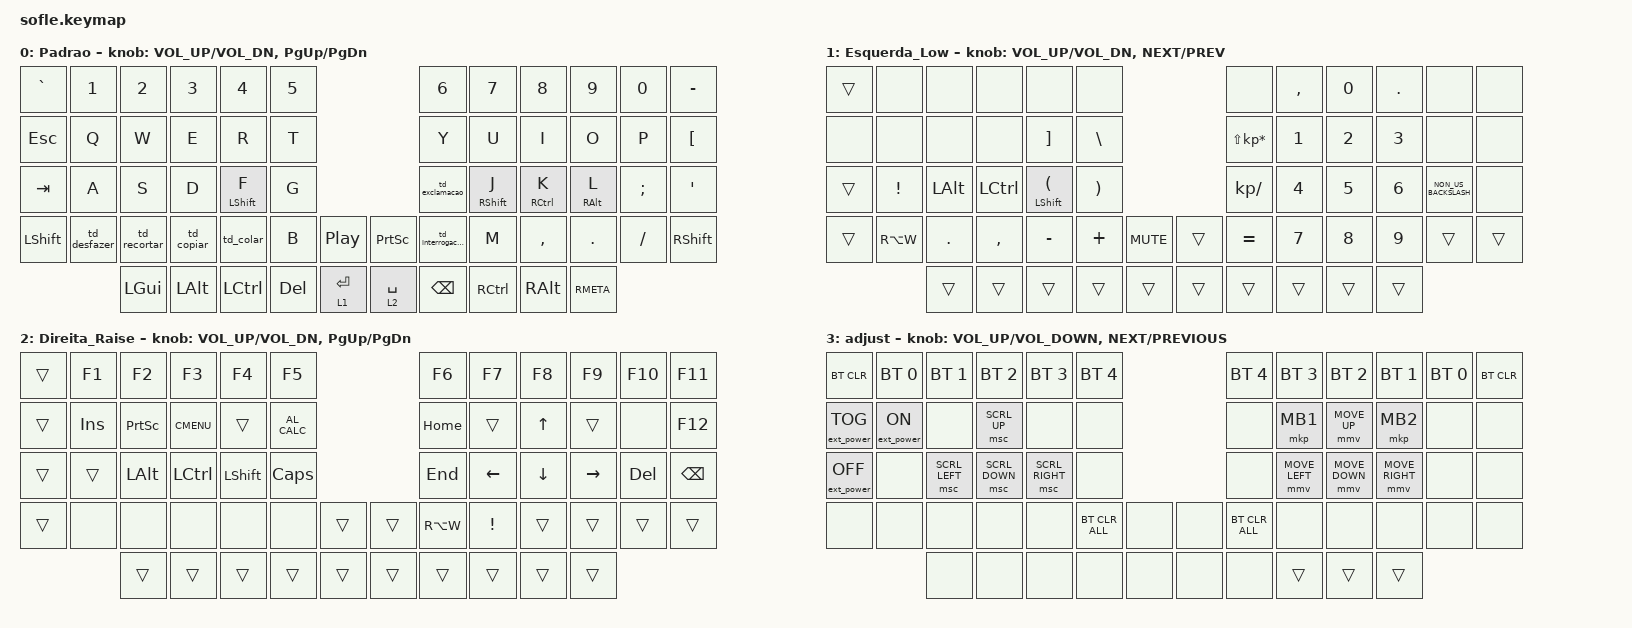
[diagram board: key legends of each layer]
/*
 * Copyright (c) 2020 The ZMK Contributors
 *
 * SPDX-License-Identifier: MIT
 */

#include <behaviors.dtsi>
#include <dt-bindings/zmk/bt.h>
#include <dt-bindings/zmk/ext_power.h>
#include <dt-bindings/zmk/keys.h>
#include <dt-bindings/zmk/pointing.h>

#define BASE 0
#define LOWER 1
#define RAISE 2
#define ADJUST 3

/ {
    // Activate ADJUST layer by pressing raise and lower

    conditional_layers {
        compatible = "zmk,conditional-layers";

        adjust_layer {
            if-layers = <LOWER RAISE>;
            then-layer = <ADJUST>;
        };
    };

    macros {
        macro_interrogacao: macro_interrogacao {
            compatible = "zmk,behavior-macro";
            #binding-cells = <0>;
            bindings =
                <&macro_press>,
                <&kp RALT>,
                <&macro_tap>,
                <&kp W>,
                <&macro_release>,
                <&kp RALT>;

            label = "MACRO_INTERROGACAO";
        };

        macro_copiar: copiar {
            compatible = "zmk,behavior-macro";
            #binding-cells = <0>;
            bindings =
                <&macro_press>,
                <&kp LEFT_CONTROL>,
                <&macro_tap>,
                <&kp C>,
                <&macro_release>,
                <&kp LEFT_CONTROL>;

            label = "COPIAR";
        };

        macro_colar: colar {
            compatible = "zmk,behavior-macro";
            #binding-cells = <0>;
            bindings =
                <&macro_press>,
                <&kp LEFT_CONTROL>,
                <&macro_tap>,
                <&kp V>,
                <&macro_release>,
                <&kp LEFT_CONTROL>;

            label = "COLAR";
        };

        macro_recortar: macro_recortar {
            compatible = "zmk,behavior-macro";
            #binding-cells = <0>;
            bindings =
                <&macro_press>,
                <&kp LEFT_CONTROL>,
                <&macro_tap>,
                <&kp X>,
                <&macro_release>,
                <&kp LEFT_CONTROL>;

            label = "MACRO_RECORTAR";
        };

        macro_desfazer: macro_desfazer {
            compatible = "zmk,behavior-macro";
            #binding-cells = <0>;
            bindings =
                <&macro_press>,
                <&kp LEFT_CONTROL>,
                <&macro_tap>,
                <&kp Z>,
                <&macro_release>,
                <&kp LEFT_CONTROL>;

            label = "MACRO_DESFAZER";
        };
    };

    behaviors {
        td_interrogacao: td_interrogacao {
            compatible = "zmk,behavior-tap-dance";
            label = "TD_INTERROGACAO";
            #binding-cells = <0>;
            bindings = <&kp N>, <&macro_interrogacao>;
        };

        td_copiar: td_copiar {
            compatible = "zmk,behavior-tap-dance";
            label = "TD_COPIAR";
            #binding-cells = <0>;
            bindings = <&kp C>, <&macro_copiar>;
        };

        td_colar: td_colar {
            compatible = "zmk,behavior-tap-dance";
            label = "TD_COLAR";
            #binding-cells = <0>;
            bindings = <&kp V>, <&macro_colar>;
        };

        td_recortar: td_recortar {
            compatible = "zmk,behavior-tap-dance";
            label = "TD_RECORTAR";
            #binding-cells = <0>;
            bindings = <&kp X>, <&macro_recortar>;
        };

        td_desfazer: td_desfazer {
            compatible = "zmk,behavior-tap-dance";
            label = "TD_DESFAZER";
            #binding-cells = <0>;
            bindings = <&kp Z>, <&macro_desfazer>;
        };

        tr_Shift: tr_Shift {
            compatible = "zmk,behavior-hold-tap";
            label = "TR_SHIFT";
            bindings = <&kp>, <&kp>;

            #binding-cells = <2>;
            hold-trigger-on-release;
            tapping-term-ms = <250>;
            flavor = "balanced";
            quick-tap-ms = <175>;
            require-prior-idle-ms = <125>;
            hold-while-undecided;
        };

        td_exclamacao: td_exclamacao {
            compatible = "zmk,behavior-tap-dance";
            label = "TD_EXCLAMACAO";
            #binding-cells = <0>;
            bindings = <&kp H>, <&kp EXCLAMATION>;
        };
    };

    keymap {
        compatible = "zmk,keymap";

        default_layer {
            display-name = "Padrao";

            // ------------------------------------------------------------------------------------------------------------
            // |   `   |  1  |  2  |  3   |  4   |  5   |                   |  6   |  7    |  8    |  9   |   0   |       |
            // |  ESC  |  Q  |  W  |  E   |  R   |  T   |                   |  Y   |  U    |  I    |  O   |   P   | BKSPC |
            // |  TAB  |  A  |  S  |  D   |  F   |  G   |                   |  H   |  J    |  K    |  L   |   ;   |   '   |
            // | SHIFT |  Z  |  X  |  C   |  V   |  B   |  MUTE  |  |       |  N   |  M    |  ,    |  .   |   /   | SHIFT |
            //               | GUI | ALT  | CTRL | LOWER|  ENTER |  | SPACE | RAISE| CTRL  | ALT   | GUI  |

            bindings = <
&kp GRAVE  &kp N1        &kp N2        &kp N3      &kp N4                  &kp N5                                        &kp N6            &kp N7                   &kp N8                     &kp N9                 &kp N0     &kp MINUS
&kp ESC    &kp Q         &kp W         &kp E       &kp R                   &kp T                                         &kp Y             &kp U                    &kp I                      &kp O                  &kp P      &kp LBKT
&kp TAB    &kp A         &kp S         &kp D       &tr_Shift LEFT_SHIFT F  &kp G                                         &td_exclamacao    &tr_Shift RIGHT_SHIFT J  &tr_Shift RIGHT_CONTROL K  &tr_Shift RIGHT_ALT L  &kp SEMI   &kp SQT
&kp LSHFT  &td_desfazer  &td_recortar  &td_copiar  &td_colar               &kp B    &kp C_PLAY_PAUSE    &kp PRINTSCREEN  &td_interrogacao  &kp M                    &kp COMMA                  &kp DOT                &kp SLASH  &kp RSHFT
                         &kp LGUI      &kp LALT    &kp LCTRL               &kp DEL  &lt 1 ENTER         &lt 2 SPACE      &kp BACKSPACE     &kp RCTRL                &kp RALT                   &kp RMETA
            >;

            sensor-bindings = <&inc_dec_kp C_VOL_UP C_VOL_DN &inc_dec_kp PG_UP PG_DN>;
        };

        lower_layer {
            display-name = " Esquerda_Low";

            // TODO: Some binds are waiting for shifted keycode support.
            // ------------------------------------------------------------------------------------------------------------
            // |       |  F1 |  F2 |  F3  |  F4  |  F5  |                   |  F6  |  F7   |  F8   |  F9  |  F10  |  F11  |
            // |   `   |  1  |  2  |  3   |  4   |  5   |                   |  6   |  7    |  8    |  9   |   0   |  F12  |
            // |       |  !  |  @  |  #   |  $   |  %   |                   |  ^   |  &    |  *    |  (   |   )   |   |   |
            // |       |  =  |  -  |  +   |  {   |  }   |        |  |       |  [   |  ]    |  ;    |  :   |   \   |       |
            //               |     |      |      |      |        |  |       |      |       |       |      |

            bindings = <
&trans  &none      &none         &none             &none                            &none                                        &none                &kp COMMA     &kp N0        &kp DOT       &none                 &none
&none   &none      &none         &none             &kp RIGHT_BRACKET                &kp BACKSLASH                                &kp LS(KP_MULTIPLY)  &kp NUMBER_1  &kp NUMBER_2  &kp NUMBER_3  &none                 &none
&trans  &kp EXCL   &kp LEFT_ALT  &kp LEFT_CONTROL  &mt LEFT_SHIFT LEFT_PARENTHESIS  &kp RIGHT_PARENTHESIS                        &kp KP_DIVIDE        &kp NUMBER_4  &kp N5        &kp NUMBER_6  &kp NON_US_BACKSLASH  &none
&trans  &kp RA(W)  &kp DOT       &kp COMMA         &kp MINUS                        &kp PLUS               &kp C_MUTE    &trans  &kp EQUAL            &kp N7        &kp N8        &kp N9        &trans                &trans
                   &trans        &trans            &trans                           &trans                 &trans        &trans  &trans               &trans        &trans        &trans
            >;

            sensor-bindings =
                <&inc_dec_kp C_VOL_UP C_VOL_DN>,
                <&inc_dec_kp C_NEXT C_PREV>;
        };

        raise_layer {
            display-name = "Direita_Raise";

            // ------------------------------------------------------------------------------------------------------------
            // | BTCLR | BT1  | BT2  |  BT3  |  BT4  |  BT5 |                |      |      |       |      |       |       |
            // |       | INS  | PSCR | GUI   |       |      |                | PGUP |      |   ^   |      |       |       |
            // |       | ALT  | CTRL | SHIFT |       | CAPS |                | PGDN |   <- |   v   |  ->  |  DEL  | BKSPC |
            // |       | UNDO | CUT  | COPY  | PASTE |      |      |  |      |      |      |       |      |       |       |
            //                |      |       |       |      |      |  |      |      |      |       |      |

            bindings = <
&trans  &kp F1   &kp F2        &kp F3            &kp F4          &kp F5                           &kp F6     &kp F7    &kp F8    &kp F9     &kp F10  &kp F11
&trans  &kp INS  &kp PSCRN     &kp K_CMENU       &trans          &kp C_AL_CALC                    &kp HOME   &trans    &kp UP    &trans     &none    &kp F12
&trans  &trans   &kp LEFT_ALT  &kp LEFT_CONTROL  &kp LEFT_SHIFT  &kp CLCK                         &kp END    &kp LEFT  &kp DOWN  &kp RIGHT  &kp DEL  &kp BSPC
&trans  &none    &none         &none             &none           &none          &trans    &trans  &kp RA(W)  &kp EXCL  &trans    &trans     &trans   &trans
                 &trans        &trans            &trans          &trans         &trans    &trans  &trans     &trans    &trans    &trans
            >;

            sensor-bindings = <&inc_dec_kp C_VOL_UP C_VOL_DN &inc_dec_kp PG_UP PG_DN>;
        };

        adjust_layer {
            // ----------------------------------------------------------------------------------------------------------------------------
            // | BTCLR  |  BT1    |  BT2    |   BT3   |   BT4   |   BT5   |                  |      |      |       |      |       |       |
            // | EXTPWR | RGB_HUD | RGB_HUI | RGB_SAD | RGB_SAI | RGB_EFF |                  |      |      |       |      |       |       |
            // |        | RGB_BRD | RGB_BRI |         |         |         |                  |      |      |       |      |       |       |
            // |        |         |         |         |         |         | RGB_TOG | |      |      |      |       |      |       |       |
            //                    |         |         |         |         |         | |      |      |      |       |      |

            display-name = "adjust";
            bindings = <
&bt BT_CLR         &bt BT_SEL 0      &bt BT_SEL 1    &bt BT_SEL 2    &bt BT_SEL 3     &bt BT_SEL 4                    &bt BT_SEL 4    &bt BT_SEL 3    &bt BT_SEL 2    &bt BT_SEL 1     &bt BT_SEL 0  &bt BT_CLR
&ext_power EP_TOG  &ext_power EP_ON  &none           &msc SCRL_UP    &none            &none                           &none           &mkp MB1        &mmv MOVE_UP    &mkp MB2         &none         &none
&ext_power EP_OFF  &none             &msc SCRL_LEFT  &msc SCRL_DOWN  &msc SCRL_RIGHT  &none                           &none           &mmv MOVE_LEFT  &mmv MOVE_DOWN  &mmv MOVE_RIGHT  &none         &none
&none              &none             &none           &none           &none            &bt BT_CLR_ALL  &none    &none  &bt BT_CLR_ALL  &none           &none           &none            &none         &none
                                     &none           &none           &none            &none           &none    &none  &none           &trans          &trans          &trans
            >;

            sensor-bindings =
                <&inc_dec_kp C_VOLUME_UP C_VOLUME_DOWN>,
                <&inc_dec_kp C_NEXT C_PREVIOUS>;
        };
    };
};
